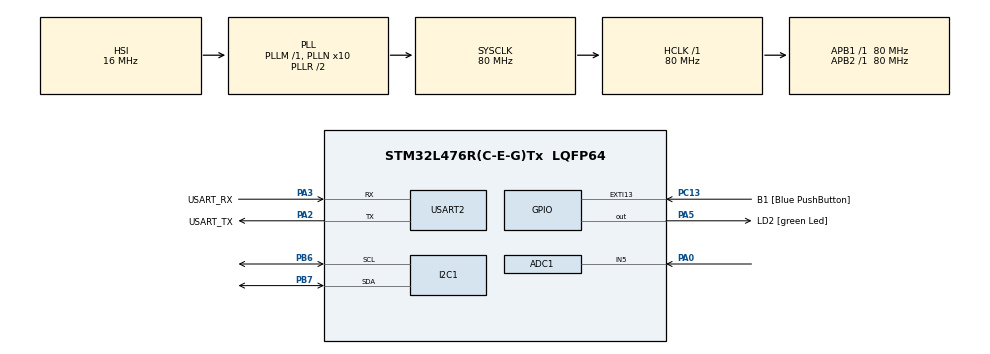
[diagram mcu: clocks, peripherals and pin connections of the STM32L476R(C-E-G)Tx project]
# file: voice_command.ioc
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ADC1.Channel-1\#ChannelRegularConversion=ADC_CHANNEL_5
ADC1.NbrOfConversionFlag=1
ADC1.OffsetNumber-1\#ChannelRegularConversion=ADC_OFFSET_NONE
ADC1.Rank-1\#ChannelRegularConversion=1
ADC1.SamplingTime-1\#ChannelRegularConversion=ADC_SAMPLETIME_2CYCLES_5
ADC1.master=1
I2C1.Timing=0x10D19CE4
Mcu.Family=STM32L4
Mcu.Name=STM32L476R(C-E-G)Tx
Mcu.Package=LQFP64
NVIC.PriorityGroup=NVIC_PRIORITYGROUP_4
PA0.Signal=ADCx_IN5
PA13\ (JTMS-SWDIO).GPIO_Label=TMS
PA13\ (JTMS-SWDIO).Mode=Serial_Wire
PA13\ (JTMS-SWDIO).Signal=SYS_JTMS-SWDIO
PA14\ (JTCK-SWCLK).GPIO_Label=TCK
PA14\ (JTCK-SWCLK).Mode=Serial_Wire
PA14\ (JTCK-SWCLK).Signal=SYS_JTCK-SWCLK
PA2.GPIO_Label=USART_TX
PA2.GPIO_Mode=GPIO_MODE_AF_PP
PA2.GPIO_PuPd=GPIO_NOPULL
PA2.GPIO_Speed=GPIO_SPEED_FREQ_VERY_HIGH
PA2.Mode=Asynchronous
PA2.Signal=USART2_TX
PA3.GPIO_Label=USART_RX
PA3.GPIO_Mode=GPIO_MODE_AF_PP
PA3.GPIO_PuPd=GPIO_NOPULL
PA3.GPIO_Speed=GPIO_SPEED_FREQ_VERY_HIGH
PA3.Mode=Asynchronous
PA3.Signal=USART2_RX
PA5.GPIO_Label=LD2 [green Led]
PA5.GPIO_ModeDefaultOutputPP=GPIO_MODE_OUTPUT_PP
PA5.GPIO_PuPd=GPIO_NOPULL
PA5.GPIO_Speed=GPIO_SPEED_FREQ_LOW
PA5.Signal=GPIO_Output
PB3\ (JTDO-TRACESWO).GPIO_Label=SWO
PB3\ (JTDO-TRACESWO).Signal=SYS_JTDO-SWO
PB6.Mode=I2C
PB6.Signal=I2C1_SCL
PB7.Mode=I2C
PB7.Signal=I2C1_SDA
PC13.GPIO_Label=B1 [Blue PushButton]
PC13.GPIO_ModeDefaultEXTI=GPIO_MODE_IT_FALLING
PC13.GPIO_PuPd=GPIO_NOPULL
PC13.Signal=GPXTI13
PC14-OSC32_IN\ (PC14).Mode=LSE-External-Oscillator
PC14-OSC32_IN\ (PC14).Signal=RCC_OSC32_IN
PC15-OSC32_OUT\ (PC15).Mode=LSE-External-Oscillator
PC15-OSC32_OUT\ (PC15).Signal=RCC_OSC32_OUT
PH0-OSC_IN\ (PH0).Signal=RCC_OSC_IN
PH1-OSC_OUT\ (PH1).Signal=RCC_OSC_OUT
ProjectManager.HeapSize=0x200
ProjectManager.StackSize=0x400
ProjectManager.TargetToolchain=STM32CubeIDE
RCC.ADCFreq_Value=64000000
RCC.AHBFreq_Value=80000000
RCC.APB1Freq_Value=80000000
RCC.APB1TimFreq_Value=80000000
RCC.APB2Freq_Value=80000000
RCC.APB2TimFreq_Value=80000000
RCC.CortexFreq_Value=80000000
RCC.HCLKFreq_Value=80000000
RCC.HSE_VALUE=8000000
RCC.HSI_VALUE=16000000
RCC.MSI_VALUE=4000000
RCC.PLLN=10
RCC.PLLSourceVirtual=RCC_PLLSOURCE_HSI
RCC.PREFETCH_ENABLE=1
RCC.SYSCLKFreq_VALUE=80000000
RCC.SYSCLKSource=RCC_SYSCLKSOURCE_PLLCLK
RCC.USBFreq_Value=64000000
RCC.VCOOutputFreq_Value=160000000
SH.ADCx_IN5.0=ADC1_IN5,IN5-Single-Ended
USART2.VirtualMode-Asynchronous=VM_ASYNC
board=NUCLEO-L476RG

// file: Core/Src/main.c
/* USER CODE BEGIN Header */
/**
  ******************************************************************************
  * @file           : main.c
  * @brief          : Main program body
  ******************************************************************************
  * @attention
  *
  * Copyright (c) 2025 STMicroelectronics.
  * All rights reserved.
  *
  * This software is licensed under terms that can be found in the LICENSE file
  * in the root directory of this software component.
  * If no LICENSE file comes with this software, it is provided AS-IS.
  *
  ******************************************************************************
  */
/* USER CODE END Header */
#include "main.h"

/* USER CODE BEGIN Includes */
#include "stdio.h"
/* USER CODE END Includes */

/* USER CODE BEGIN PM */
#define BUFFER_SIZE  256
#define AXIS 1
/* USER CODE END PM */

ADC_HandleTypeDef hadc1;

I2C_HandleTypeDef hi2c1;

UART_HandleTypeDef huart2;

/* USER CODE BEGIN PV */
float mic;
float mic_buffer[BUFFER_SIZE * AXIS] = {0};
/* USER CODE END PV */

void SystemClock_Config(void);
static void MX_GPIO_Init(void);
static void MX_USART2_UART_Init(void);
static void MX_ADC1_Init(void);
static void MX_I2C1_Init(void);
/* USER CODE BEGIN PFP */
void mic_data();
void fill_mic_buffer();
/* USER CODE END PFP */

int main(void)
{

  /* MCU Configuration--------------------------------------------------------*/

  /* Reset of all peripherals, Initializes the Flash interface and the Systick. */
  HAL_Init();

  /* Configure the system clock */
  SystemClock_Config();

  /* Initialize all configured peripherals */
  MX_GPIO_Init();
  MX_USART2_UART_Init();
  MX_ADC1_Init();
  MX_I2C1_Init();

  /* Infinite loop */
  /* USER CODE BEGIN WHILE */
  while (1)
  {
	  fill_mic_buffer();
    /* USER CODE END WHILE */

  }
}

void SystemClock_Config(void)
{
  RCC_OscInitTypeDef RCC_OscInitStruct = {0};
  RCC_ClkInitTypeDef RCC_ClkInitStruct = {0};

  /** Configure the main internal regulator output voltage
  */
  if (HAL_PWREx_ControlVoltageScaling(PWR_REGULATOR_VOLTAGE_SCALE1) != HAL_OK)
  {
    Error_Handler();
  }

  /** Initializes the RCC Oscillators according to the specified parameters
  * in the RCC_OscInitTypeDef structure.
  */
  RCC_OscInitStruct.OscillatorType = RCC_OSCILLATORTYPE_HSI;
  RCC_OscInitStruct.HSIState = RCC_HSI_ON;
  RCC_OscInitStruct.HSICalibrationValue = RCC_HSICALIBRATION_DEFAULT;
  RCC_OscInitStruct.PLL.PLLState = RCC_PLL_ON;
  RCC_OscInitStruct.PLL.PLLSource = RCC_PLLSOURCE_HSI;
  RCC_OscInitStruct.PLL.PLLM = 1;
  RCC_OscInitStruct.PLL.PLLN = 10;
  RCC_OscInitStruct.PLL.PLLP = RCC_PLLP_DIV7;
  RCC_OscInitStruct.PLL.PLLQ = RCC_PLLQ_DIV2;
  RCC_OscInitStruct.PLL.PLLR = RCC_PLLR_DIV2;
  if (HAL_RCC_OscConfig(&RCC_OscInitStruct) != HAL_OK)
  {
    Error_Handler();
  }

  /** Initializes the CPU, AHB and APB buses clocks
  */
  RCC_ClkInitStruct.ClockType = RCC_CLOCKTYPE_HCLK|RCC_CLOCKTYPE_SYSCLK
                              |RCC_CLOCKTYPE_PCLK1|RCC_CLOCKTYPE_PCLK2;
  RCC_ClkInitStruct.SYSCLKSource = RCC_SYSCLKSOURCE_PLLCLK;
  RCC_ClkInitStruct.AHBCLKDivider = RCC_SYSCLK_DIV1;
  RCC_ClkInitStruct.APB1CLKDivider = RCC_HCLK_DIV1;
  RCC_ClkInitStruct.APB2CLKDivider = RCC_HCLK_DIV1;

  if (HAL_RCC_ClockConfig(&RCC_ClkInitStruct, FLASH_LATENCY_4) != HAL_OK)
  {
    Error_Handler();
  }
}

static void MX_ADC1_Init(void)
{

  ADC_MultiModeTypeDef multimode = {0};
  ADC_ChannelConfTypeDef sConfig = {0};

  /** Common config
  */
  hadc1.Instance = ADC1;
  hadc1.Init.ClockPrescaler = ADC_CLOCK_ASYNC_DIV1;
  hadc1.Init.Resolution = ADC_RESOLUTION_12B;
  hadc1.Init.DataAlign = ADC_DATAALIGN_RIGHT;
  hadc1.Init.ScanConvMode = ADC_SCAN_DISABLE;
  hadc1.Init.EOCSelection = ADC_EOC_SINGLE_CONV;
  hadc1.Init.LowPowerAutoWait = DISABLE;
  hadc1.Init.ContinuousConvMode = DISABLE;
  hadc1.Init.NbrOfConversion = 1;
  hadc1.Init.DiscontinuousConvMode = DISABLE;
  hadc1.Init.ExternalTrigConv = ADC_SOFTWARE_START;
  hadc1.Init.ExternalTrigConvEdge = ADC_EXTERNALTRIGCONVEDGE_NONE;
  hadc1.Init.DMAContinuousRequests = DISABLE;
  hadc1.Init.Overrun = ADC_OVR_DATA_PRESERVED;
  hadc1.Init.OversamplingMode = DISABLE;
  if (HAL_ADC_Init(&hadc1) != HAL_OK)
  {
    Error_Handler();
  }

  /** Configure the ADC multi-mode
  */
  multimode.Mode = ADC_MODE_INDEPENDENT;
  if (HAL_ADCEx_MultiModeConfigChannel(&hadc1, &multimode) != HAL_OK)
  {
    Error_Handler();
  }

  /** Configure Regular Channel
  */
  sConfig.Channel = ADC_CHANNEL_5;
  sConfig.Rank = ADC_REGULAR_RANK_1;
  sConfig.SamplingTime = ADC_SAMPLETIME_2CYCLES_5;
  sConfig.SingleDiff = ADC_SINGLE_ENDED;
  sConfig.OffsetNumber = ADC_OFFSET_NONE;
  sConfig.Offset = 0;
  if (HAL_ADC_ConfigChannel(&hadc1, &sConfig) != HAL_OK)
  {
    Error_Handler();
  }

}

static void MX_I2C1_Init(void)
{

  hi2c1.Instance = I2C1;
  hi2c1.Init.Timing = 0x10D19CE4;
  hi2c1.Init.OwnAddress1 = 0;
  hi2c1.Init.AddressingMode = I2C_ADDRESSINGMODE_7BIT;
  hi2c1.Init.DualAddressMode = I2C_DUALADDRESS_DISABLE;
  hi2c1.Init.OwnAddress2 = 0;
  hi2c1.Init.OwnAddress2Masks = I2C_OA2_NOMASK;
  hi2c1.Init.GeneralCallMode = I2C_GENERALCALL_DISABLE;
  hi2c1.Init.NoStretchMode = I2C_NOSTRETCH_DISABLE;
  if (HAL_I2C_Init(&hi2c1) != HAL_OK)
  {
    Error_Handler();
  }

  /** Configure Analogue filter
  */
  if (HAL_I2CEx_ConfigAnalogFilter(&hi2c1, I2C_ANALOGFILTER_ENABLE) != HAL_OK)
  {
    Error_Handler();
  }

  /** Configure Digital filter
  */
  if (HAL_I2CEx_ConfigDigitalFilter(&hi2c1, 0) != HAL_OK)
  {
    Error_Handler();
  }

}

static void MX_USART2_UART_Init(void)
{

  huart2.Instance = USART2;
  huart2.Init.BaudRate = 115200;
  huart2.Init.WordLength = UART_WORDLENGTH_8B;
  huart2.Init.StopBits = UART_STOPBITS_1;
  huart2.Init.Parity = UART_PARITY_NONE;
  huart2.Init.Mode = UART_MODE_TX_RX;
  huart2.Init.HwFlowCtl = UART_HWCONTROL_NONE;
  huart2.Init.OverSampling = UART_OVERSAMPLING_16;
  huart2.Init.OneBitSampling = UART_ONE_BIT_SAMPLE_DISABLE;
  huart2.AdvancedInit.AdvFeatureInit = UART_ADVFEATURE_NO_INIT;
  if (HAL_UART_Init(&huart2) != HAL_OK)
  {
    Error_Handler();
  }

}

static void MX_GPIO_Init(void)
{
  GPIO_InitTypeDef GPIO_InitStruct = {0};

  /* GPIO Ports Clock Enable */
  __HAL_RCC_GPIOC_CLK_ENABLE();
  __HAL_RCC_GPIOH_CLK_ENABLE();
  __HAL_RCC_GPIOA_CLK_ENABLE();
  __HAL_RCC_GPIOB_CLK_ENABLE();

  /*Configure GPIO pin Output Level */
  HAL_GPIO_WritePin(LD2_GPIO_Port, LD2_Pin, GPIO_PIN_RESET);

  /*Configure GPIO pin : B1_Pin */
  GPIO_InitStruct.Pin = B1_Pin;
  GPIO_InitStruct.Mode = GPIO_MODE_IT_FALLING;
  GPIO_InitStruct.Pull = GPIO_NOPULL;
  HAL_GPIO_Init(B1_GPIO_Port, &GPIO_InitStruct);

  /*Configure GPIO pin : LD2_Pin */
  GPIO_InitStruct.Pin = LD2_Pin;
  GPIO_InitStruct.Mode = GPIO_MODE_OUTPUT_PP;
  GPIO_InitStruct.Pull = GPIO_NOPULL;
  GPIO_InitStruct.Speed = GPIO_SPEED_FREQ_LOW;
  HAL_GPIO_Init(LD2_GPIO_Port, &GPIO_InitStruct);

}

/* USER CODE BEGIN 4 */
void mic_data(){
	HAL_ADC_Start(&hadc1);
	HAL_ADC_PollForConversion(&hadc1, HAL_MAX_DELAY);
	mic = HAL_ADC_GetValue(&hadc1);
	HAL_Delay(3);
}
void fill_mic_buffer(){
	for(int i = 0; i<BUFFER_SIZE; i++){
		mic_data();
		mic_buffer[AXIS * i] = mic;
		printf("%.2f", mic_buffer[AXIS * i]);
		printf(" ");
	}
	printf("\r\n");

}

int __io_putchar(int ch){
	HAL_UART_Transmit(&huart2, (uint8_t*)&ch, 1, HAL_MAX_DELAY);
	return ch;
}

/* USER CODE END 4 */

void Error_Handler(void)
{
  __disable_irq();
  while (1)
  {
  }
}
